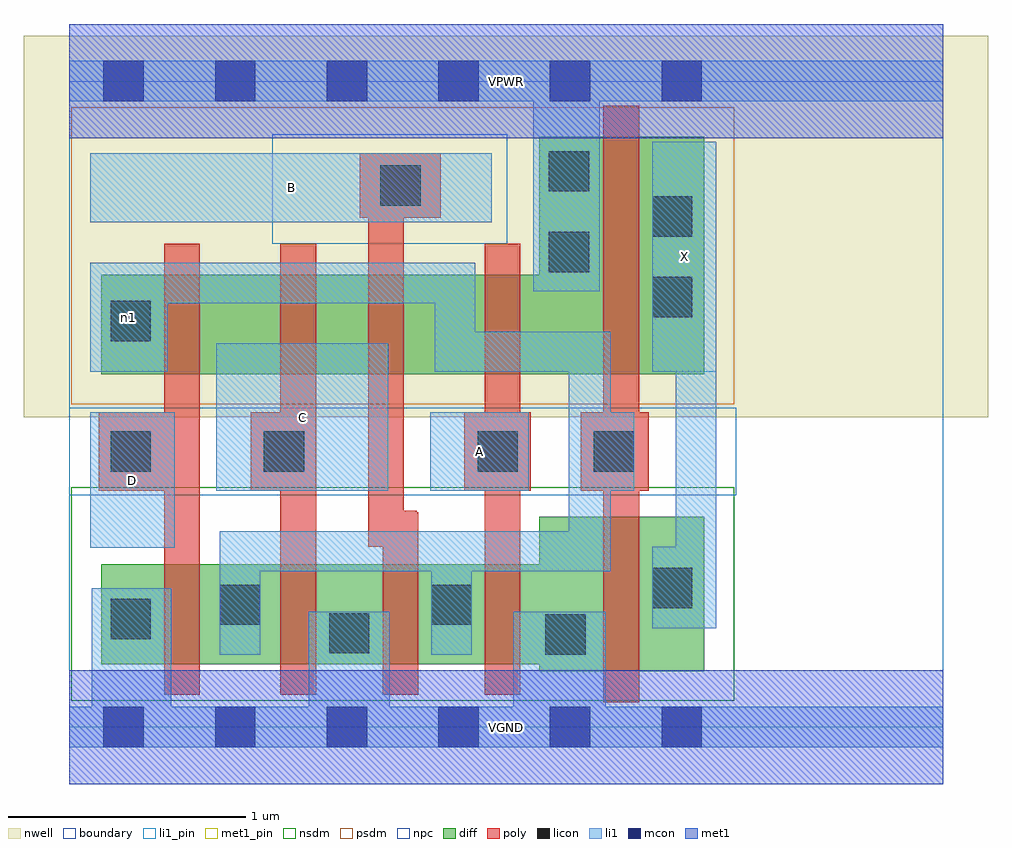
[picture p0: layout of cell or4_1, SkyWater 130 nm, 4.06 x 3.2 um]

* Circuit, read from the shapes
.subckt or4_1 A B C D VGND VPWR X n1
XM1 n1 D VGND VSUBS sky130_fd_pr__nfet_01v8 w=0.42 l=0.15
XM2 VGND C n1 VSUBS sky130_fd_pr__nfet_01v8 w=0.42 l=0.15
XM3 n1 B VGND VSUBS sky130_fd_pr__nfet_01v8 w=0.42 l=0.15
XM4 VGND A n1 VSUBS sky130_fd_pr__nfet_01v8 w=0.42 l=0.15
XM5 X n1 VGND VSUBS sky130_fd_pr__nfet_01v8 w=0.65 l=0.15
XM6 n2 D n1 n3 sky130_fd_pr__pfet_01v8 w=0.42 l=0.15
XM7 n4 C n2 n3 sky130_fd_pr__pfet_01v8 w=0.42 l=0.15
XM8 n5 B n4 n3 sky130_fd_pr__pfet_01v8 w=0.42 l=0.15
XM9 VPWR A n5 n3 sky130_fd_pr__pfet_01v8 w=0.42 l=0.15
XM10 X n1 VPWR n3 sky130_fd_pr__pfet_01v8 w=1 l=0.15
.ends

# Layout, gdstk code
import gdstk
lib = gdstk.Library(unit=1e-6, precision=1e-09)
def R(c, l, rs):  # rectangles x0, y0, x1, y1
    for r in rs: c.add(gdstk.rectangle(r[:2], r[2:], *l))
def A(c, l, x, y, w, h, nx, ny, dx, dy):  # array of equal rectangles
    R(c, l, [(x+i*dx, y+j*dy, x+i*dx+w, y+j*dy+h) for i in range(nx) for j in range(ny)])
nwell = (64, 20)
diff = (65, 20)
poly = (66, 20)
licon = (66, 44)
li1_pin = (67, 16)
li1 = (67, 20)
mcon = (67, 44)
met1_pin = (68, 16)
met1 = (68, 20)
nsdm = (93, 44)
psdm = (94, 20)
npc = (95, 20)
boundary = (235, 4)

or4_1 = lib.new_cell('or4_1')
R(or4_1, nwell, [(-0.19,1.305,3.87,2.91), (0,1.305,3.68,2.91)])
R(or4_1, diff, [(1.98,0.235,2.675,0.885), (0.135,0.265,2.675,0.685), (0.135,1.485,2.675,1.905), (1.98,1.485,2.675,2.485)])
R(or4_1, poly, [(2.25,0.105,2.4,2.615), (0.4,0.135,0.55,2.035), (0.89,0.135,1.04,2.035), (1.32,0.135,1.47,0.905), (1.32,0.135,1.465,0.91), (1.75,0.135,1.9,2.035), (1.26,0.76,1.41,2.415), (0.125,0.995,0.55,1.325), (0.765,0.995,1.04,1.325), (1.665,0.995,1.945,1.325), (2.155,0.995,2.44,1.325), (1.225,2.145,1.565,2.415)])
R(or4_1, licon, [(2.005,0.305,2.175,0.475), (1.095,0.31,1.265,0.48), (0.175,0.37,0.345,0.54), (0.635,0.43,0.805,0.6), (1.525,0.43,1.695,0.6), (2.455,0.5,2.625,0.67), (0.175,1.075,0.345,1.245), (0.82,1.075,0.99,1.245), (1.72,1.075,1.89,1.245), (2.21,1.075,2.38,1.245), (0.175,1.625,0.345,1.795), (2.455,1.725,2.625,1.895), (2.02,1.915,2.19,2.085), (2.455,2.065,2.625,2.235), (1.31,2.195,1.48,2.365), (2.02,2.255,2.19,2.425)])
R(or4_1, li1_pin, [(0.09,0.755,0.445,1.325), (0.62,0.995,1.345,1.615), (1.52,0.995,1.935,1.325), (2.455,1.495,2.725,2.465), (0.09,2.125,1.78,2.415)])
R(or4_1, li1, [(0,-0.085,3.68,0.085), (0.095,-0.085,0.43,0.585), (1.01,-0.085,1.35,0.485), (1.87,-0.085,2.26,0.485), (0.635,0.305,0.805,0.825), (1.525,0.305,1.695,0.825), (2.455,0.415,2.725,0.76), (2.555,0.415,2.725,2.465), (0.635,0.655,2.28,0.825), (2.105,0.655,2.28,1.665), (0.09,0.755,0.445,1.325), (0.62,0.995,1.345,1.615), (1.52,0.995,1.935,1.325), (2.105,0.995,2.38,1.325), (0.09,1.495,0.415,1.955), (1.54,1.495,2.28,1.665), (1.54,1.495,1.71,1.955), (2.455,1.495,2.725,2.465), (0.09,1.785,1.71,1.955), (1.955,1.835,2.235,2.805), (0.09,2.125,1.78,2.415), (0,2.635,3.68,2.805)])
A(or4_1, mcon, 0.145, -0.085, 0.17, 0.17, 6, 2, 0.47, 2.72)
R(or4_1, met1_pin, [(0,-0.24,3.68,0.24), (0,2.48,3.68,2.96)])
R(or4_1, met1, [(0,-0.24,3.68,0.24), (0,2.48,3.68,2.96)])
R(or4_1, nsdm, [(0.01,0.11,2.8,1.01)])
R(or4_1, psdm, [(0.01,1.36,2.8,2.61)])
R(or4_1, npc, [(0,0.975,2.81,1.345), (0.855,2.035,1.845,2.495)])
R(or4_1, boundary, [(0,0,3.68,2.72)])
or4_1.add(gdstk.Label('A', (1.727,1.16), layer=67, texttype=5))
or4_1.add(gdstk.Label('B', (0.935,2.27), layer=67, texttype=5))
or4_1.add(gdstk.Label('C', (0.982,1.305), layer=67, texttype=5))
or4_1.add(gdstk.Label('D', (0.267,1.04), layer=67, texttype=5))
or4_1.add(gdstk.Label('X', (2.59,1.98), layer=67, texttype=5))
or4_1.add(gdstk.Label('n1', (0.252,1.725), layer=67, texttype=5))
or4_1.add(gdstk.Label('VPWR', (1.84,2.72), layer=68, texttype=5))
or4_1.add(gdstk.Label('VGND', (1.84,0), layer=68, texttype=5))
or4_1.add(gdstk.Label('A', (1.727,1.16), layer=67, texttype=16))
or4_1.add(gdstk.Label('B', (0.935,2.27), layer=67, texttype=16))
or4_1.add(gdstk.Label('C', (0.982,1.305), layer=67, texttype=16))
or4_1.add(gdstk.Label('D', (0.267,1.04), layer=67, texttype=16))
or4_1.add(gdstk.Label('X', (2.59,1.98), layer=67, texttype=16))
or4_1.add(gdstk.Label('VPWR', (1.84,2.72), layer=68, texttype=16))
or4_1.add(gdstk.Label('VGND', (1.84,0), layer=68, texttype=16))

lib.write_gds('or4_1.gds')
